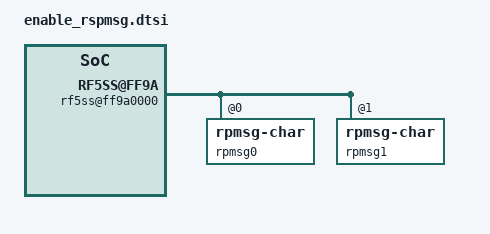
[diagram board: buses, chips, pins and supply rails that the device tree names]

&{rf5ss@ff9a0000} {
    
    rpmsg0: rpmsg-channel@0 {
        compatible = "rpmsg-char";
        reg = <0>;
        interrupt-parent = <&gic>;
        interrupts = <0 30 4>;  /* Adjust interrupt for R5 core 0 */
        status = "okay";
    };

    
    rpmsg1: rpmsg-channel@1 {
        compatible = "rpmsg-char";
        reg = <1>;
        interrupt-parent = <&gic>;
        interrupts = <0 31 4>;  /* Adjust interrupt for R5 core 1 */
        status = "okay";
    };
};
